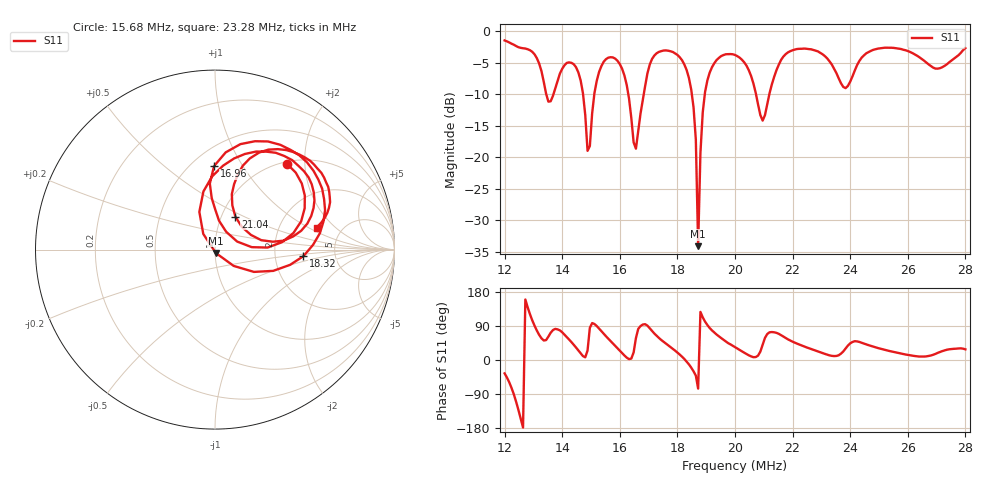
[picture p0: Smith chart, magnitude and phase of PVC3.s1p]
!Keysight Technologies N9916A: A.13.10
!Date: Monday, 17 November 2025 21:06:30
!TimeZone: (UTC-06:00) Central Time (US & Canada)!Model: N9916A
!Serial: MY57273160
!GPS Latitude:
!GPS Longitude:
!GPS TimeStamp: 0001-01-01 00:00:00Z
!GPS Seconds Since Last Read: 0
!CHECKSUM:0348138740
!Correction: S11(ON U)
!S1P File: Measurement: S11:
# Hz S DB R 50
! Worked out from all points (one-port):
!   201 points, 12 MHz to 28 MHz, reference 50 ohm
!   lowest |S11| = -34.1 dB at 18.72 MHz (marker M1), VSWR 1.04, Z = 50.5 - j1.92 ohm
!   |S11| at or under -10 dB: 16.3 MHz to 16.83 MHz (535.4 kHz wide, 3.23 % of centre); 18.5 MHz to 18.95 MHz (449 kHz wide, 2.4 % of centre); 20.73 MHz to 21.19 MHz (461.6 kHz wide, 2.2 % of centre)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
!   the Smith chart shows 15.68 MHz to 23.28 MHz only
!   S11 on the Smith chart (normalised r, x): 15.68 MHz: 1.04, +1.63; 16.96 MHz: 0.64, +0.76; 18.32 MHz: 2.92, -0.28; 21.04 MHz: 1.16, +0.45; 23.28 MHz: 3.27, +1.21
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1.2e7  -1.44 -35.3
1.232e7  -2.11 -90.5
1.264e7  -2.68 -178.2
1.288e7  -2.99 121.0
1.32e7  -5.11 66.3
1.352e7  -11.16 61.8
1.4e7  -5.94 73.1
1.456e7  -6.50 25.3
1.488e7  -18.98 25.0
1.52e7  -7.85 89.6
1.568e7  -4.10 49.9
1.6e7  -5.19 24.7
1.656e7  -18.63 57.9
1.696e7  -6.65 90.7
1.736e7  -3.25 58.1
1.8e7  -3.72 19.7
1.832e7  -6.13 -4.3
1.864e7  -17.19 -41.1
1.872e7  -34.12 -75.5
1.88e7  -19.26 126.8
1.896e7  -9.63 101.3
2e7  -3.74 34.0
2.104e7  -13.31 58.3
2.2e7  -2.99 48.3
2.328e7  -4.74 12.2
2.4e7  -7.99 44.0
2.6e7  -3.12 13.5
2.8e7  -2.65 28.1
